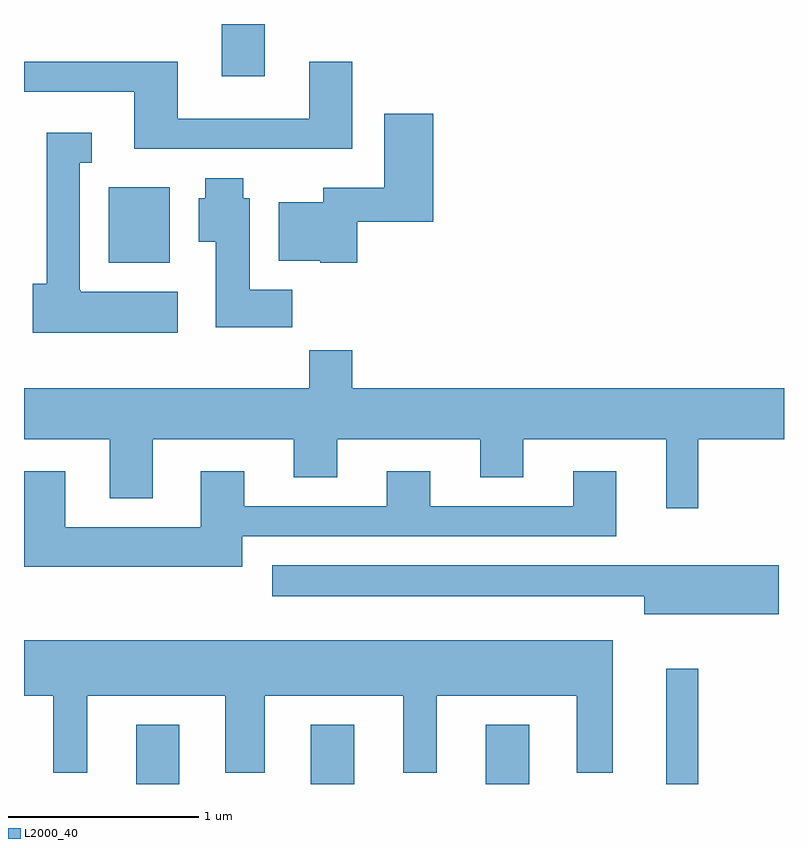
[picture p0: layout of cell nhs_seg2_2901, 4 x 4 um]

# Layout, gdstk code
import gdstk
lib = gdstk.Library(unit=1e-6, precision=1e-09)
def R(c, l, rs):  # rectangles x0, y0, x1, y1
    for r in rs: c.add(gdstk.rectangle(r[:2], r[2:], *l))
def A(c, l, x, y, w, h, nx, ny, dx, dy):  # array of equal rectangles
    R(c, l, [(x+i*dx, y+j*dy, x+i*dx+w, y+j*dy+h) for i in range(nx) for j in range(ny)])
def P(c, l, *ps):  # polygons
    for p in ps: c.add(gdstk.Polygon(p, *l))
L2000_40 = (2000, 40)

nhs_seg2_2901 = lib.new_cell('nhs_seg2_2901')
A(nhs_seg2_2901, L2000_40, 270.201, 1079.802, 0.228, 0.312, 3, 1, 0.92, 0)
R(nhs_seg2_2901, L2000_40, [(272.991,1079.802,273.159,1080.408), (270.056,1082.546,270.379,1082.944), (270.651,1083.526,270.879,1083.802)])
P(nhs_seg2_2901, L2000_40, [(271.339,1083.604),(271.111,1083.604),(271.111,1083.304),(270.419,1083.304),(270.419,1083.604),(269.611,1083.604),(269.611,1083.446),(270.191,1083.446),(270.191,1083.146),(271.339,1083.146)],
  [(271.364,1082.761),(271.764,1082.761),(271.764,1083.329),(271.506,1083.329),(271.506,1082.939),(271.186,1082.939),(271.186,1082.864),(270.951,1082.864),(270.951,1082.556),(271.17,1082.556),(271.17,1082.546),(271.364,1082.546)],
  [(270.419,1082.394),(269.91,1082.394),(269.91,1082.4),(269.904,1082.4),(269.904,1083.071),(269.968,1083.071),(269.968,1083.229),(269.731,1083.229),(269.731,1082.434),(269.656,1082.434),(269.656,1082.176),(270.419,1082.176)],
  [(271.024,1082.404),(270.799,1082.404),(270.799,1082.884),(270.764,1082.884),(270.764,1082.989),(270.566,1082.989),(270.566,1082.884),(270.531,1082.884),(270.531,1082.656),(270.621,1082.656),(270.621,1082.206),(271.024,1082.206)],
  [(271.259,1081.616),(272.011,1081.616),(272.011,1081.416),(272.239,1081.416),(272.239,1081.616),(272.991,1081.616),(272.991,1081.253),(273.159,1081.253),(273.159,1081.616),(273.611,1081.616),(273.611,1081.884),(271.339,1081.884),(271.339,1082.084),(271.111,1082.084),(271.111,1081.884),(269.611,1081.884),(269.611,1081.616),(270.061,1081.616),(270.061,1081.306),(270.289,1081.306),(270.289,1081.616),(271.031,1081.616),(271.031,1081.416),(271.259,1081.416)],
  [(270.759,1081.106),(272.729,1081.106),(272.729,1081.449),(272.501,1081.449),(272.501,1081.264),(271.749,1081.264),(271.749,1081.449),(271.521,1081.449),(271.521,1081.264),(270.769,1081.264),(270.769,1081.449),(270.541,1081.449),(270.541,1081.154),(269.829,1081.154),(269.829,1081.449),(269.611,1081.449),(269.611,1080.946),(270.759,1080.946)],
  [(273.584,1080.954),(270.918,1080.954),(270.918,1080.791),(272.876,1080.791),(272.876,1080.696),(273.584,1080.696)],
  [(269.944,1080.266),(270.671,1080.266),(270.671,1079.861),(270.879,1079.861),(270.879,1080.266),(271.606,1080.266),(271.606,1079.861),(271.784,1079.861),(271.784,1080.266),(272.521,1080.266),(272.521,1079.861),(272.709,1079.861),(272.709,1080.559),(269.611,1080.559),(269.611,1080.266),(269.766,1080.266),(269.766,1079.861),(269.944,1079.861)])

lib.write_gds('nhs_seg2_2901.gds')
